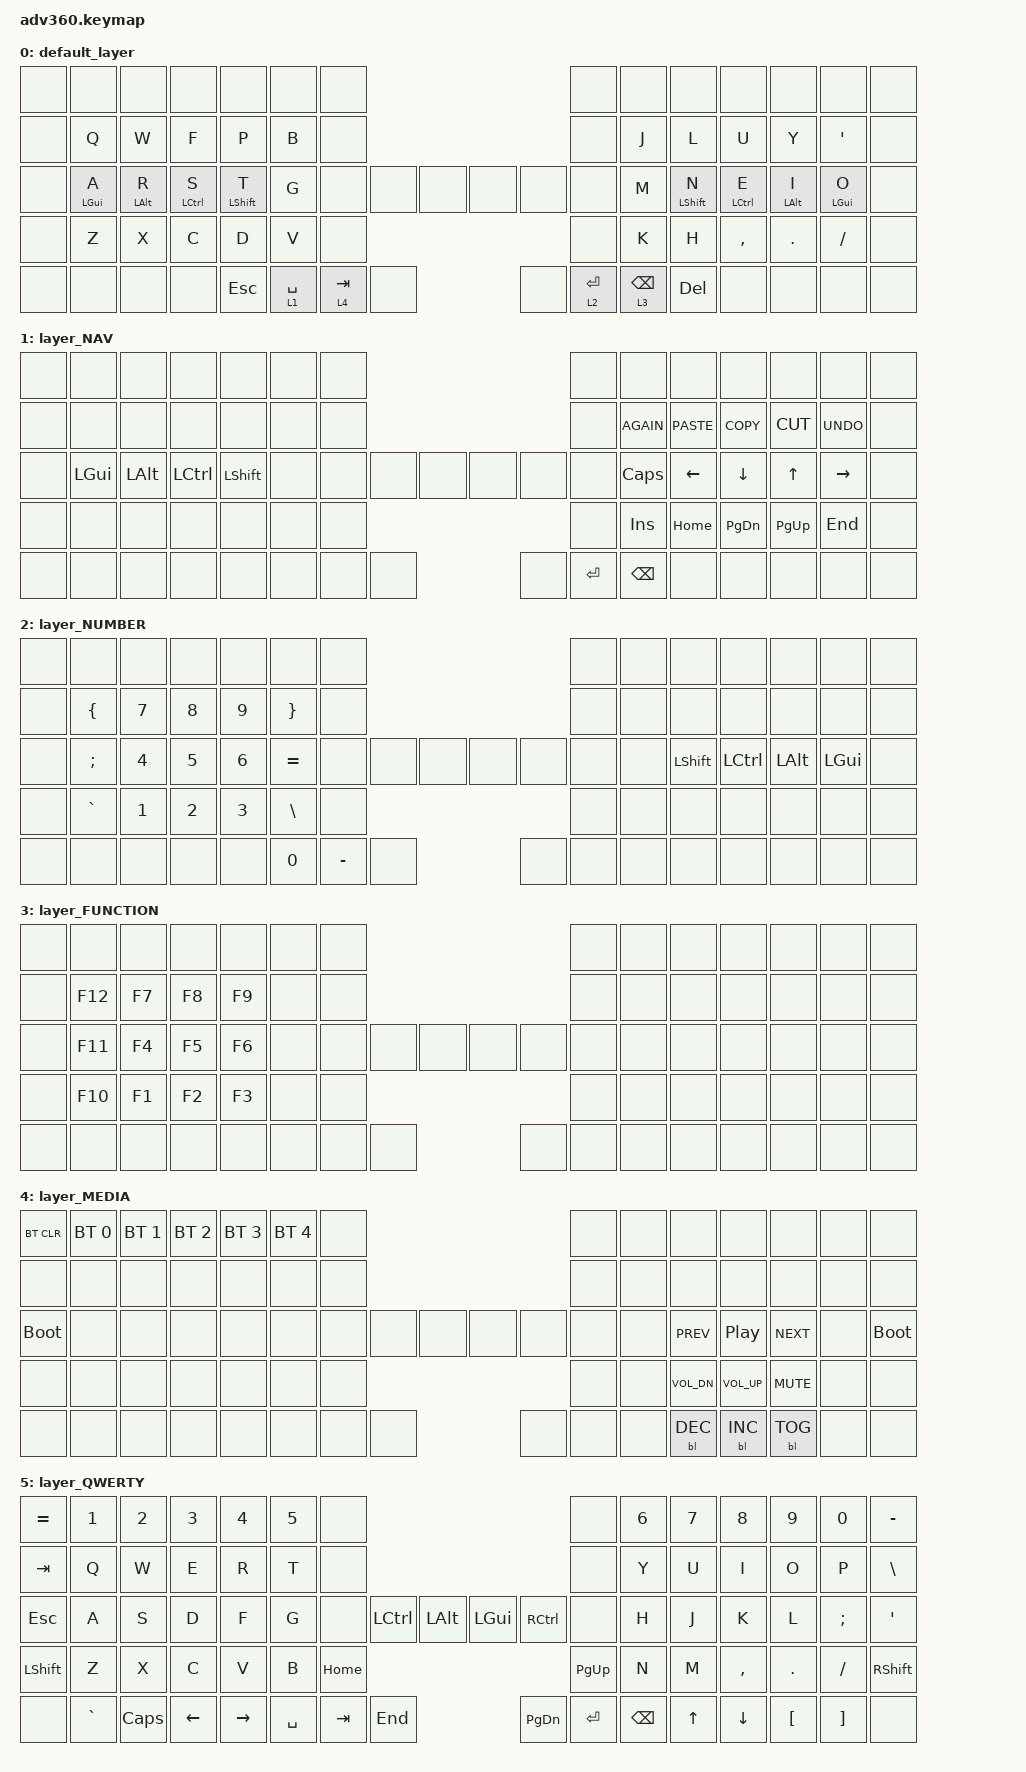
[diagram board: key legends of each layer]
/*
 * Copyright (c) 2020 The ZMK Contributors
 *
 * SPDX-License-Identifier: MIT
 */
/* THIS FILE WAS GENERATED!
 *
 * This file was generated automatically. You may or may not want to
 * edit it directly.
 */

#include <behaviors.dtsi>
#include <dt-bindings/zmk/backlight.h>
#include <dt-bindings/zmk/bt.h>
#include <dt-bindings/zmk/keys.h>

/ {
    behaviors {
        #include "macros.dtsi"

        hm: homerow_mods {
            compatible = "zmk,behavior-hold-tap";
            label = "HOMEROW_MODS";
            #binding-cells = <2>;
            tapping-term-ms = <200>;
            flavor = "tap-preferred";
            bindings =
                <&kp>,
                <&kp>;
        };
    };

    combos {
        compatible = "zmk,combos";

        activate_qwerty {
            bindings = <&tog 5>;
            key-positions = <44 43 42 41>;
            timeout-ms = <50>;
            slow-release;
        };
    };

    keymap {
        compatible = "zmk,keymap";

        default_layer {
            bindings = <
&none           &none       &none        &none        &none  &none        &none                                                      &none  &none        &none        &none       &none             &none  &none
&none           &kp Q       &kp W        &kp F        &kp P  &kp B        &none                                                      &none  &kp J        &kp L        &kp U       &kp Y  &kp SINGLE_QUOTE  &none
&none  &hm LEFT_GUI A  &hm LALT R  &hm LCTRL S  &hm LSHFT T  &kp G        &none      &none  &none      &none        &none            &none  &kp M  &hm LSHFT N  &hm LCTRL E  &hm LALT I    &hm LEFT_GUI O  &none
&none           &kp Z       &kp X        &kp C        &kp D  &kp V                          &none      &none                                &kp K        &kp H    &kp COMMA     &kp DOT          &kp FSLH  &none
&none           &none       &none        &none      &kp ESC         &lt 1 SPACE  &lt 4 TAB  &none      &none  &lt 2 ENTER  &lt 3 BACKSPACE          &kp DELETE        &none       &none             &none  &none
            >;
        };

        layer_NAV {
            bindings = <
&none     &none     &none      &none      &none  &none  &none                                         &none        &none        &none          &none        &none       &none  &none
&none     &none     &none      &none      &none  &none  &none                                         &none  &kp K_AGAIN  &kp K_PASTE     &kp K_COPY    &kp K_CUT  &kp K_UNDO  &none
&none  &kp LGUI  &kp LALT  &kp LCTRL  &kp LSHFT  &none  &none  &none  &none      &none      &none     &none     &kp CAPS     &kp LEFT       &kp DOWN       &kp UP   &kp RIGHT  &none
&none     &none     &none      &none      &none  &none                &none      &none                           &kp INS     &kp HOME  &kp PAGE_DOWN  &kp PAGE_UP     &kp END  &none
&none     &none     &none      &none      &none         &none  &none  &none      &none  &kp ENTER  &kp BSPC                     &none          &none        &none       &none  &none
            >;
        };

        layer_NUMBER {
            bindings = <
&none      &none   &none   &none   &none      &none   &none                                      &none  &none      &none      &none     &none     &none  &none
&none   &kp LBRC  &kp N7  &kp N8  &kp N9   &kp RBRC   &none                                      &none  &none      &none      &none     &none     &none  &none
&none   &kp SEMI  &kp N4  &kp N5  &kp N6  &kp EQUAL   &none      &none  &none      &none  &none  &none  &none  &kp LSHFT  &kp LCTRL  &kp LALT  &kp LGUI  &none
&none  &kp GRAVE  &kp N1  &kp N2  &kp N3   &kp BSLH                     &none      &none                &none      &none      &none     &none     &none  &none
&none      &none   &none   &none   &none             &kp N0  &kp MINUS  &none      &none  &none  &none             &none      &none     &none     &none  &none
            >;
        };

        layer_FUNCTION {
            bindings = <
&none    &none   &none   &none   &none  &none  &none                                  &none  &none  &none  &none  &none  &none  &none
&none  &kp F12  &kp F7  &kp F8  &kp F9  &none  &none                                  &none  &none  &none  &none  &none  &none  &none
&none  &kp F11  &kp F4  &kp F5  &kp F6  &none  &none  &none  &none      &none  &none  &none  &none  &none  &none  &none  &none  &none
&none  &kp F10  &kp F1  &kp F2  &kp F3  &none                &none      &none                &none  &none  &none  &none  &none  &none
&none    &none   &none   &none   &none         &none  &none  &none      &none  &none  &none         &none  &none  &none  &none  &none
            >;
        };

        layer_MEDIA {
            bindings = <
 &bt BT_CLR  &bt BT_SEL 0  &bt BT_SEL 1  &bt BT_SEL 2  &bt BT_SEL 3  &bt BT_SEL 4  &none                                  &none  &none         &none             &none       &none  &none        &none
      &none         &none         &none         &none         &none         &none  &none                                  &none  &none         &none             &none       &none  &none        &none
&bootloader         &none         &none         &none         &none         &none  &none  &none  &none      &none  &none  &none  &none    &kp C_PREV  &kp C_PLAY_PAUSE  &kp C_NEXT  &none  &bootloader
      &none         &none         &none         &none         &none         &none                &none      &none                &none  &kp C_VOL_DN      &kp C_VOL_UP  &kp C_MUTE  &none        &none
      &none         &none         &none         &none         &none                &none  &none  &none      &none  &none  &none           &bl BL_DEC        &bl BL_INC  &bl BL_TOG  &none        &none
            >;
        };

        layer_QWERTY {
            bindings = <
&kp EQUAL     &kp N1    &kp N2    &kp N3     &kp N4  &kp N5      &none                                                         &none  &kp N6  &kp N7     &kp N8    &kp N9    &kp N0  &kp MINUS
  &kp TAB      &kp Q     &kp W     &kp E      &kp R   &kp T      &none                                                         &none   &kp Y   &kp U      &kp I     &kp O     &kp P   &kp BSLH
  &kp ESC      &kp A     &kp S     &kp D      &kp F   &kp G      &none  &kp LCTRL  &kp LALT       &kp LGUI  &kp RCTRL          &none   &kp H   &kp J      &kp K     &kp L  &kp SEMI    &kp SQT
&kp LSHFT      &kp Z     &kp X     &kp C      &kp V   &kp B                        &kp HOME      &kp PG_UP                             &kp N   &kp M  &kp COMMA   &kp DOT  &kp FSLH  &kp RSHFT
    &none  &kp GRAVE  &kp CAPS  &kp LEFT  &kp RIGHT          &kp SPACE    &kp TAB   &kp END      &kp PG_DN  &kp ENTER  &kp BACKSPACE          &kp UP   &kp DOWN  &kp LBKT  &kp RBKT      &none
            >;
        };
    };
};
